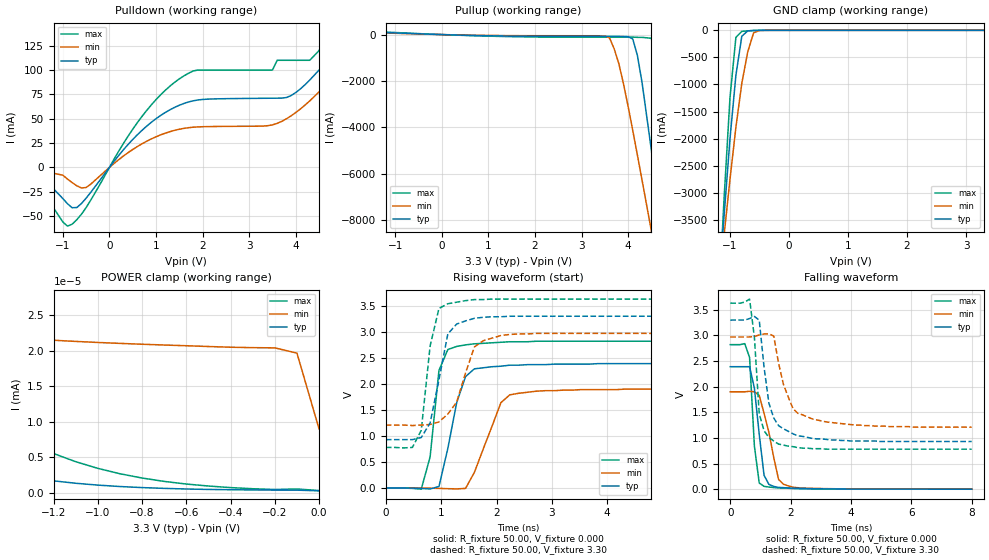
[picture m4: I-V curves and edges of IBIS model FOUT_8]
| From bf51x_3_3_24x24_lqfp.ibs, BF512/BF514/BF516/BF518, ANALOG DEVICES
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|   Model prw0408swcdg_3v_25
[Model]   FOUT_8
Model_type   I/O
Polarity   Non-Inverting
Enable   Active-Low
Vinl =   0.40V
Vinh =   2.40V
Vmeas =   1.20V
Cref =  50.00pF
Rref =   1.00M
Vref =  0.000V
C_comp   5.08pF   4.58pF   5.59pF
[Temperature Range]   25.00   0.12k   -40.00
[Voltage Range]   3.30V   2.97V   3.63V
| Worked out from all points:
|   slope of the pulldown table from 0 to 0.495 V, typ, clamps not added: 17.4 ohm
|   slope of the pullup table from 0 to 0.495 V, typ, clamps not added: 17.2 ohm
|   GND clamp passes 1 mA (typ) near -0.53 V on its own axis
|   POWER clamp passes 1 mA (typ) near -3.01 V on its own axis
|   rising waveform, R_fixture 50.00, V_fixture 0.000: 20-80 % time 309ps typ, 409ps min, 169ps max; typ from 0 V to 2.39 V
|   rising waveform, R_fixture 50.00, V_fixture 3.30: 20-80 % time 266ps typ, 352ps min, 210ps max; typ from 0.93 V to 3.3 V
|   falling waveform, R_fixture 50.00, V_fixture 0.000: 20-80 % time 268ps typ, 428ps min, 192ps max; typ from 2.39 V to 0 V
|   falling waveform, R_fixture 50.00, V_fixture 3.30: 20-80 % time 390ps typ, 542ps min, 240ps max; typ from 3.3 V to 0.93 V
[Pulldown]
| voltage   I(typ)   I(min)   I(max)
-3.3V     0A         0A         0A
-1.7V     0A         0A         -10mA
-900mV    -37.3mA    -12mA      -60.3mA
-500mV    -31.56mA   -20.64mA   -41.25mA
700mV     38.11mA    24.26mA    52.44mA
1.7V      67.22mA    40.81mA    96.76mA
3.9V      73.78mA    52.99mA    110mA
4.3V      89.73mA    68.32mA    110mA
5.1V      140mA      110mA      170mA
5.5V      170mA      59.23mA    210mA
6.1V      130mA      60.45mA    270mA
6.6V      890mA      68.62mA    3.72A
[Pullup]
| voltage   I(typ)   I(min)   I(max)
-3.3V     29.2mA     8.62mA     61mA
-2.5V     150mA      14.34mA    190mA
3.6V      -78.87mA   -140mA     -110mA
3.8V      -79.53mA   -1.25A     -110mA
4.1V      -190mA     -4.14A     -110mA
4.2V      -910mA     -5.21A     -120mA
4.3V      -2.08A     -6.29A     -120mA
4.5V      -5A        -8.48A     -160mA
4.7V      -8.09A     -10.68A    -2.62A
4.9V      -11.24A    -12.9A     -6.81A
5.1V      -14.4A     -15.12A    -11.2A
6.6V      -38.32A    -31.88A    -44.78A
[GND_clamp]
| voltage   I(typ)   I(min)   I(max)
-3.3V     -38.23A    -28.13A    -52.07A
-1.2V     -4.92A     -4.84A     -5.19A
-1.1V     -3.42A     -3.78A     -3.1A
-1V       -2A        -2.75A     -1.24A
-900mV    -830mA     -1.79A     -130mA
-800mV    -110mA     -980mA     -19.35mA
-700mV    -10.17mA   -400mA     -9.85mA
-600mV    -2.61mA    -45.18mA   -3.52mA
-500mV    -460uA     -4.57mA    -550uA
3.3V      270pA      20.45nA    210pA
[POWER_clamp]
| voltage   I(typ)   I(min)   I(max)
-3.3V     770mA      230nA      7.85A
-2.6V     27.1nA     32.41nA    9.27mA
-2.3V     16.42nA    27.61nA    47.25nA
-2V       9.44nA     24.65nA    26.73nA
-1.7V     5.12nA     22.9nA     15.66nA
-1.5V     3.3nA      22.17nA    10.58nA
-1.3V     2.1nA      21.67nA    6.92nA
-1.1V     1.34nA     21.32nA    4.38nA
-800mV    730pA      20.92nA    2.08nA
-200mV    380pA      20.41nA    460pA
-100mV    370pA      19.67nA    540pA
0V        270pA      8.98nA     310pA
[Ramp]
| variable   typ   min   max
dV/dt_r   1.43/0.21n   1.14/0.33n   1.69/0.16n
dV/dt_f   1.42/0.31n   1.06/0.49n   1.71/0.20n
R_load = 50.00
[Rising Waveform]
R_fixture = 50.00
V_fixture = 0.000
V_fixture_min = 0.000
V_fixture_max = 0.000
L_fixture = 0.000H
C_fixture = 0.000F
| time   V(typ)   V(min)   V(max)
0s        0V         0V         0V
640ps     -8.17mV    -460uV     -21.94mV
800ps     -17.89mV   -3.01mV    600mV
960ps     29.33mV    -7.23mV    2.26V
1.28ns    1.64V      -16.71mV   2.72V
1.44ns    2.14V      -7.59mV    2.75V
1.6ns     2.29V      300mV      2.77V
2.08ns    2.34V      1.64V      2.8V
2.24ns    2.36V      1.79V      2.81V
8ns       2.39V      1.9V       2.82V
[Rising Waveform]
R_fixture = 50.00
V_fixture = 3.30
V_fixture_min = 2.97
V_fixture_max = 3.63
L_fixture = 0.000H
C_fixture = 0.000F
| time   V(typ)   V(min)   V(max)
0s        930mV      1.21V      780mV
480ps     930mV      1.2V       780mV
640ps     970mV      1.21V      1.11V
800ps     1.25V      1.22V      2.73V
960ps     2.08V      1.27V      3.45V
1.12ns    2.96V      1.42V      3.54V
1.28ns    3.15V      1.65V      3.57V
1.6ns     3.26V      2.71V      3.62V
2.08ns    3.29V      2.93V      3.63V
8ns       3.3V       2.97V      3.63V
[Falling Waveform]
R_fixture = 50.00
V_fixture = 0.000
V_fixture_min = 0.000
V_fixture_max = 0.000
L_fixture = 0.000H
C_fixture = 0.000F
| time   V(typ)   V(min)   V(max)
0s        2.39V      1.9V       2.82V
480ps     2.39V      1.9V       2.84V
640ps     2.39V      1.91V      2.57V
800ps     1.97V      1.9V       840mV
960ps     1.07V      1.83V      120mV
1.12ns    270mV      1.48V      55.04mV
1.28ns    93.48mV    1.11V      41.63mV
1.6ns     35mV       190mV      23.4mV
1.76ns    29.42mV    96.68mV    20.12mV
8ns       2.74uV     120uV      -2.98uV
[Falling Waveform]
R_fixture = 50.00
V_fixture = 3.30
V_fixture_min = 2.97
V_fixture_max = 3.63
L_fixture = 0.000H
C_fixture = 0.000F
| time   V(typ)   V(min)   V(max)
0s        3.3V       2.97V      3.63V
640ps     3.33V      2.97V      3.71V
800ps     3.37V      2.98V      2.96V
960ps     3.3V       3.01V      1.47V
1.28ns    1.68V      3.03V      1.01V
1.44ns    1.39V      2.99V      940mV
1.6ns     1.24V      2.46V      880mV
2.08ns    1.08V      1.57V      830mV
2.72ns    990mV      1.37V      790mV
8ns       930mV      1.21V      780mV
